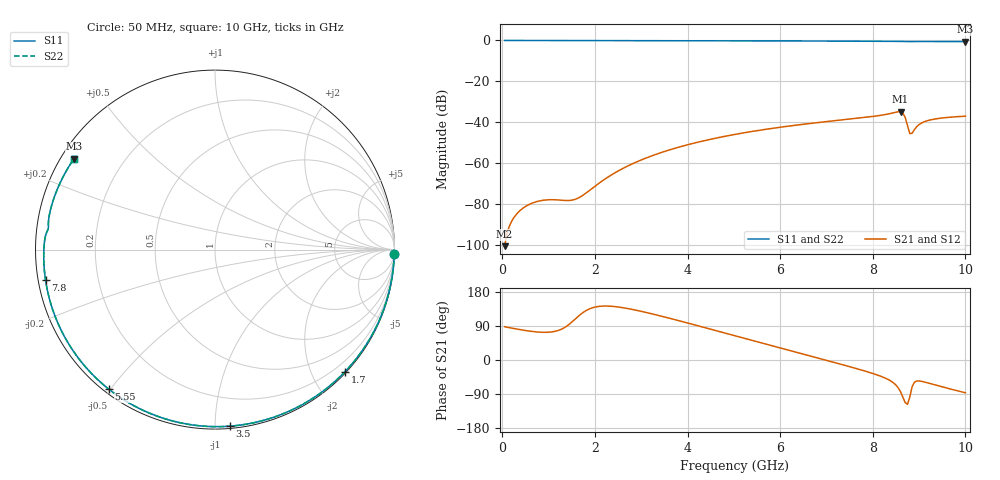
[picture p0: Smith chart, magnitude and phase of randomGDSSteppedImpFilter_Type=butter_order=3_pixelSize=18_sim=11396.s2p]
! freq	dB(S11)	phase(S11)	dB(S12)	phase(S12)
!  dB(S21)	phase(S21)	dB(S22)	phase(S22)
!S-par simulation data
#  GHz  S  DB  R 50
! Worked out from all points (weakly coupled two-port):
!   200 points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, 50 MHz to 10 GHz, reference 50 ohm
!   highest |S21| = -34.88 dB at 8.6 GHz (marker M1); lowest = -100.7 dB at 50 MHz (marker M2)
!   lowest |S11| = -0.6 dB at 10 GHz (marker M3), VSWR 29.68, Z = 1.83 + j14.7 ohm
!   |S11| at or under -10 dB: nowhere
!   |S22| runs from -0.6 to 0.0 dB; largest |S21 - S12| = 0
!   S11 on the Smith chart (normalised r, x): 50 MHz: 1, -91; 1.7 GHz: 0.02, -2.52; 3.5 GHz: 0.01, -1.09; 5.55 GHz: 0.01, -0.50; 7.8 GHz: 0.02, -0.09; 10 GHz: 0.04, +0.29
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0.05  -0.00 -1.3  -100.72 87.9  -100.72 87.9  -0.00 -1.3
0.6  -0.02 -15.5  -80.09 76.0  -80.09 76.0  -0.02 -15.5
0.75  -0.03 -19.4  -78.87 73.9  -78.87 73.9  -0.03 -19.4
1.45  -0.05 -37.1  -78.34 94.7  -78.34 94.7  -0.05 -37.1
1.7  -0.05 -43.3  -76.40 121.3  -76.40 121.3  -0.05 -43.3
1.75  -0.06 -44.5  -75.66 125.8  -75.66 125.8  -0.06 -44.5
2.5  -0.08 -62.5  -63.94 139.9  -63.94 139.9  -0.08 -62.5
3.4  -0.11 -82.9  -55.12 116.8  -55.12 116.8  -0.11 -82.9
3.5  -0.11 -85.1  -54.38 113.7  -54.38 113.7  -0.11 -85.1
5.05  -0.17 -117.4  -45.89 63.1  -45.89 63.1  -0.17 -117.4
5.55  -0.20 -127.2  -43.99 46.6  -43.99 46.6  -0.20 -127.2
6.7  -0.27 -149.1  -40.50 8.9  -40.50 8.9  -0.27 -149.1
7.8  -0.36 -169.9  -37.77 -28.0  -37.77 -28.0  -0.36 -169.9
8.35  -0.42 179.5  -35.92 -52.6  -35.92 -52.6  -0.42 179.5
8.6  -0.50 174.5  -34.88 -83.9  -34.88 -83.9  -0.50 174.5
8.65  -0.54 173.6  -35.55 -97.7  -35.55 -97.7  -0.54 173.6
8.7  -0.57 172.9  -37.71 -112.3  -37.71 -112.3  -0.57 172.9
8.8  -0.55 171.4  -45.61 -97.5  -45.61 -97.5  -0.55 171.4
8.85  -0.53 170.5  -45.42 -70.2  -45.42 -70.2  -0.53 170.5
9  -0.51 167.5  -41.18 -55.3  -41.18 -55.3  -0.51 167.5
9.15  -0.51 164.5  -39.48 -59.2  -39.48 -59.2  -0.51 164.5
10  -0.59 147.2  -37.08 -86.6  -37.08 -86.6  -0.59 147.2
